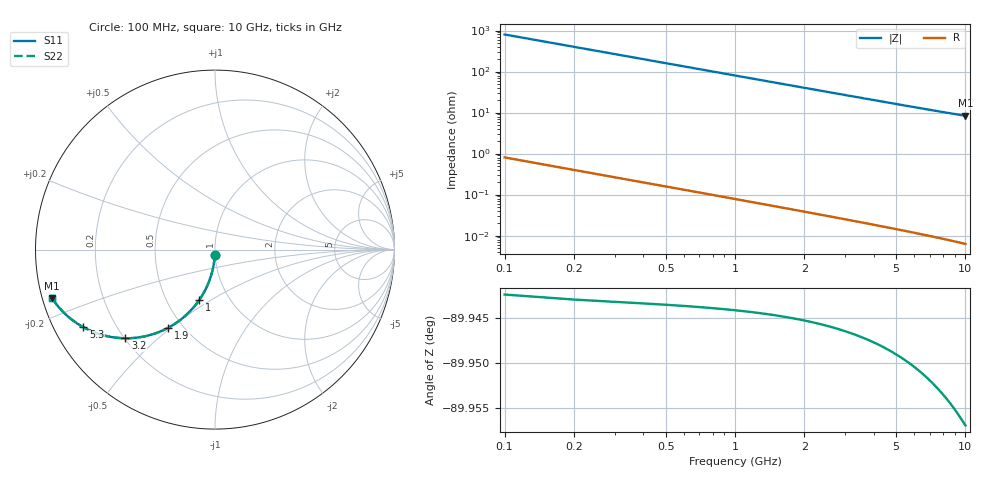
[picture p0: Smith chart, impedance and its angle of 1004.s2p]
# Hz S RI R 50.00
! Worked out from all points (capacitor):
!   100 points, 100 MHz to 10 GHz, reference 50 ohm
!   read as one part in shunt: C = 1.99 pF near 100 MHz
!   lowest |Z| = 8.34 ohm at 10 GHz (marker M1)
!   S11 on the Smith chart (normalised r, x): 100 MHz: 1.00, -0.06; 1 GHz: 0.72, -0.45; 1.9 GHz: 0.42, -0.49; 3.2 GHz: 0.20, -0.40; 5.3 GHz: 0.09, -0.27; 10 GHz: 0.03, -0.15
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1e8  -0.000924 -0.031  0.9989 -0.0313  0.9989 -0.0313  -0.000924 -0.031
2e8  -0.00386 -0.0618  0.996 -0.0625  0.996 -0.0625  -0.00386 -0.0618
3e8  -0.0087 -0.0923  0.9911 -0.0933  0.9911 -0.0933  -0.0087 -0.0923
4e8  -0.0154 -0.1222  0.9845 -0.1236  0.9845 -0.1236  -0.0154 -0.1222
5e8  -0.0238 -0.1514  0.976 -0.1532  0.976 -0.1532  -0.0238 -0.1514
6e8  -0.034 -0.1798  0.9659 -0.1819  0.9659 -0.1819  -0.034 -0.1798
7e8  -0.0457 -0.2072  0.9542 -0.2096  0.9542 -0.2096  -0.0457 -0.2072
8e8  -0.0588 -0.2336  0.941 -0.2363  0.941 -0.2363  -0.0588 -0.2336
1e9  -0.0889 -0.2826  0.9109 -0.286  0.9109 -0.286  -0.0889 -0.2826
1.2e9  -0.1232 -0.3262  0.8766 -0.3303  0.8766 -0.3303  -0.1232 -0.3262
1.4e9  -0.1605 -0.3643  0.8393 -0.3691  0.8393 -0.3691  -0.1605 -0.3643
1.8e9  -0.2401 -0.4236  0.7597 -0.4298  0.7597 -0.4298  -0.2401 -0.4236
1.9e9  -0.2604 -0.4352  0.7394 -0.4416  0.7394 -0.4416  -0.2604 -0.4352
2.5e9  -0.3787 -0.4803  0.6211 -0.4889  0.6211 -0.4889  -0.3787 -0.4803
3.2e9  -0.4998 -0.494  0.5 -0.505  0.5 -0.505  -0.4998 -0.494
3.4e9  -0.5301 -0.4928  0.4697 -0.5044  0.4697 -0.5044  -0.5301 -0.4928
4.2e9  -0.6327 -0.4743  0.367 -0.4887  0.367 -0.4887  -0.6327 -0.4743
5.1e9  -0.7179 -0.4407  0.2818 -0.4582  0.2818 -0.4582  -0.7179 -0.4407
5.3e9  -0.7332 -0.4325  0.2664 -0.4508  0.2664 -0.4508  -0.7332 -0.4325
6.7e9  -0.8151 -0.3759  0.1845 -0.3991  0.1845 -0.3991  -0.8151 -0.3759
8.4e9  -0.8745 -0.3157  0.1249 -0.3451  0.1249 -0.3451  -0.8745 -0.3157
1e10  -0.9086 -0.2694  0.0906 -0.3047  0.0906 -0.3047  -0.9086 -0.2694
